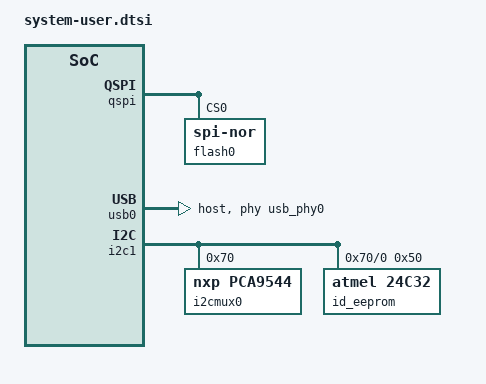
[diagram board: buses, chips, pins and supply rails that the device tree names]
/include/ "system-conf.dtsi"
/ {
};

/* QSPI PHY */
&qspi {
    #address-cells = <1>;
    #size-cells = <0>;
    status = "okay";
    flash0: flash@0 {
        compatible = "jedec,spi-nor";
        reg = <0x0>;
        #address-cells = <1>;
        #size-cells = <1>;
    };
};

/* USB PHY */

/{
    usb_phy0: usb_phy@0 {
        compatible = "ulpi-phy";
        #phy-cells = <0>;
        reg = <0xe0002000 0x1000>;
        view-port = <0x0170>;
        drv-vbus;
    };
};

&usb0 {
    dr_mode = "host";
    //dr_mode = "peripheral";
    usb-phy = <&usb_phy0>;
};

/* I2C1 */

&i2c1 {
    #address-cells = <1>;
    #size-cells = <0>;

    i2cmux0: i2cmux@70  {
        compatible = "nxp,pca9544";
        #address-cells = <1>;
        #size-cells = <0>;
        reg = <0x70>;


        i2c1@0 {
            #address-cells = <1>;
            #size-cells = <0>;
            reg = <0>;

            id_eeprom@50 {
                compatible = "atmel,24c32";
                reg = <0x50>;
            };

        };
        i2c1@1 {    // Display Interface Connector
            #address-cells = <1>;
            #size-cells = <0>;
            reg = <1>;
        };
        i2c1@2 {    // HDMI Interface Connector
            #address-cells = <1>;
            #size-cells = <0>;
            reg = <2>;
        };
        i2c1@3 {    // Camera Interface Connector
            #address-cells = <1>;
            #size-cells = <0>;
            reg = <3>;
        };
    };

};

